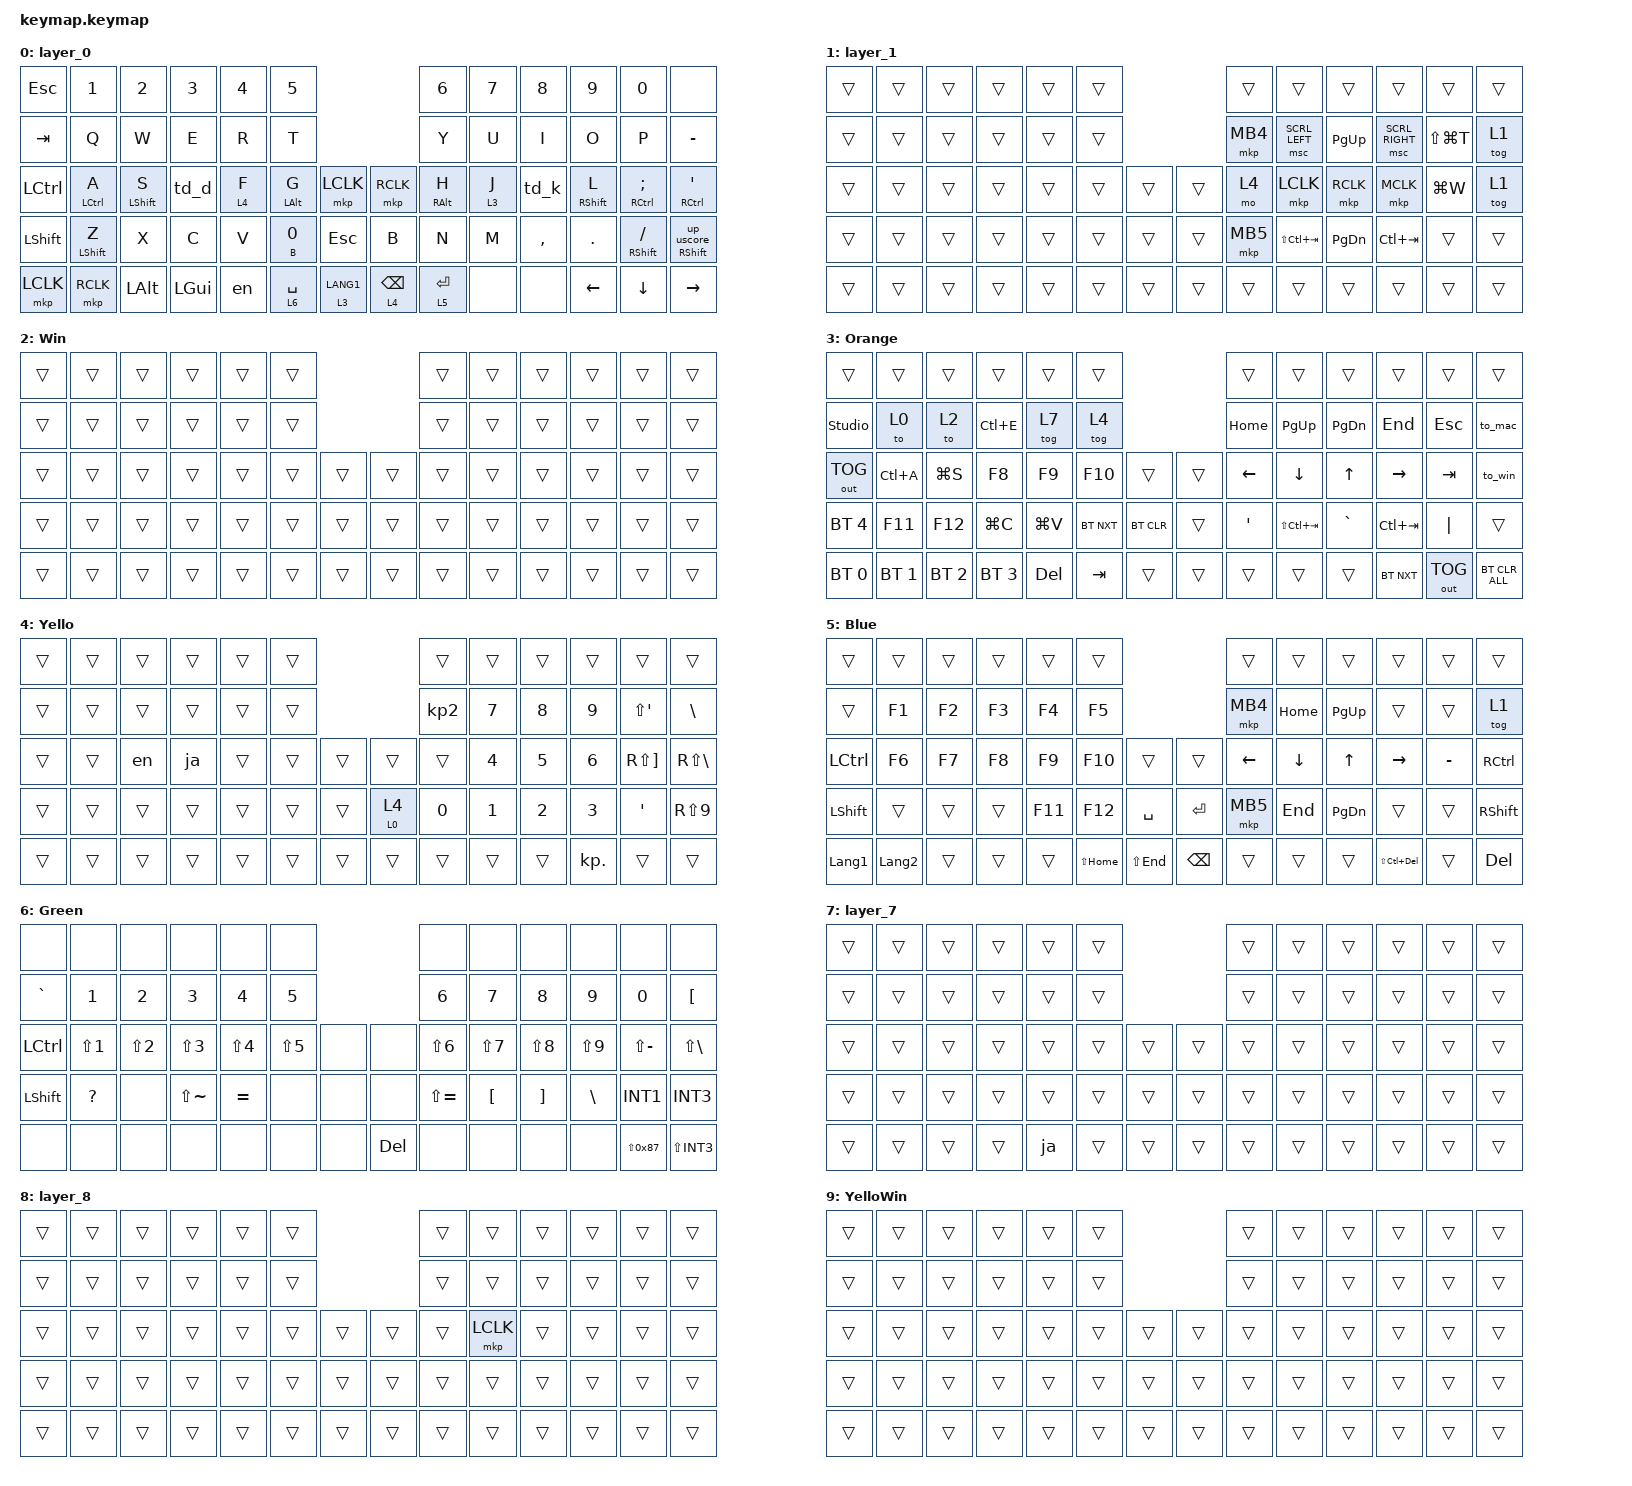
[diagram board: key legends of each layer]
#include <behaviors.dtsi>
#include <dt-bindings/zmk/bt.h>
#include <dt-bindings/zmk/keys.h>
#include <dt-bindings/zmk/outputs.h>
#include <dt-bindings/zmk/pointing.h>

#define JUS           LS(0x87)              // _

&lt { quick-tap-ms = <175>; };

&mt {
    quick-tap-ms = <175>;
    flavor = "tap-preferred";
    require-prior-idle-ms = <200>;
};

/ {
    combos {
        compatible = "zmk,combos";

        bt_clear {
            bindings = <&bt BT_CLR>;
            key-positions = <28 29>;
            layers = <2>;
        };

        lock {
            bindings = <&kp LG(L)>;
            key-positions = <38 39>;
        };

        kpUnderScore {
            bindings = <&kp INT1>;
            key-positions = <38 51>;
        };

        to-mouse {
            bindings = <&tog 1>;
            key-positions = <34 37>;
        };

        AltF4 {
            bindings = <&kp LA(F4)>;
            key-positions = <4 5>;
        };

        CmdW {
            bindings = <&kp LG(W)>;
            key-positions = <4 16>;
        };

        CmdQ {
            bindings = <&kp LG(Q)>;
            key-positions = <0 1>;
        };

        kk1l {
            bindings = <&kp LS(N8)>;
            key-positions = <19 21>;
        };

        kk1r {
            bindings = <&kp LS(N9)>;
            key-positions = <33 35>;
        };

        kk2l {
            bindings = <&kp LS(RBKT)>;
            key-positions = <19 20>;
        };

        kk2r {
            bindings = <&kp LS(BACKSLASH)>;
            key-positions = <33 34>;
        };

        kk3l {
            bindings = <&kp RBKT>;
            key-positions = <20 21>;
        };

        kk3r {
            bindings = <&kp BACKSLASH>;
            key-positions = <34 35>;
        };

        sq {
            bindings = <&kp LS(N7)>;
            key-positions = <7 19>;
        };

        dq {
            bindings = <&kp LS(N2)>;
            key-positions = <8 20>;
        };

        kpF13 {
            bindings = <&kp F13>;
            key-positions = <7 8>;
        };

        kpF14 {
            bindings = <&kp F14>;
            key-positions = <7 9>;
        };

        kpF15 {
            bindings = <&kp F15>;
            key-positions = <8 9>;
        };

        kpF16 {
            bindings = <&kp F16>;
            key-positions = <7 8 9>;
        };

        cJa {
            bindings = <&ja>;
            key-positions = <19 46>;
        };

        cEn {
            bindings = <&en>;
            key-positions = <16 43>;
        };
    };

    behaviors {
        tap_dance_mouse: tap_dance_mouse {
            compatible = "zmk,behavior-tap-dance";
            label = "TAP_DANCE_MOUSE";
            #binding-cells = <0>;
            bindings = <&kp MINUS>, <&to 1>;
        };

        up_uscore: up_uscore {
            compatible = "zmk,behavior-mod-morph";
            label = "UP_USCORE";
            #binding-cells = <0>;
            bindings = <&kp UP>, <&kp JUS>;

            // 左シフト(MOD_LSFT)のみを対象に設定

            mods = <(MOD_LSFT)>;
        };

        up_morph_shift: up_morph_shift {
            compatible = "zmk,behavior-hold-tap";
            label = "UP_MORPH_SHIFT";
            #binding-cells = <2>;
            flavor = "tap-preferred";
            tapping-term-ms = <200>; // 長押し判定の時間（お好みで調整）
            bindings = <&kp>, <&up_uscore>;

            // ホールドで&kp、タップでup_uscore
        };

        to_layers: to_layers {
            compatible = "zmk,behavior-hold-tap";
            label = "TO_LAYERS";
            #binding-cells = <2>;
            tapping-term-ms = <200>;
            flavor = "tap-preferred";

            // ホールドで1つ目の引数、タップで2つ目の引数を実行

            bindings = <&to>, <&to>;
        };

        td_d: td_d {
            compatible = "zmk,behavior-tap-dance";
            label = "TD_D";
            #binding-cells = <0>;
            bindings = <&mt LGUI D>;
        };

        td_k: td_k {
            compatible = "zmk,behavior-tap-dance";
            label = "TD_K";
            #binding-cells = <0>;
            bindings = <&mt RGUI K>;
        };
    };

    macros {
        kp1: kp1 {
            compatible = "zmk,behavior-macro";
            #binding-cells = <0>;
            bindings = <&kp LBKT &kp C &kp U &kp E &kp INT1 &kp H &kp A &kp K &kp U &kp M &kp A &kp I>;
            label = "KP1";
        };

        kp2: kp2 {
            compatible = "zmk,behavior-macro";
            #binding-cells = <0>;
            bindings = <&none &kp LS(K) &kp A &kp Y &kp O &kp T &kp I &kp N>;
            label = "KP2";
        };

        en: en {
            compatible = "zmk,behavior-macro";
            #binding-cells = <0>;
            bindings = <&kp LANG2 &tog 7>;
            label = "EN";
        };

        ja: ja {
            compatible = "zmk,behavior-macro";
            #binding-cells = <0>;
            bindings = <&kp LANG1 &tog 7>;
            label = "JA";
        };

        // Macへ（BT接続に切り替え + Macレイヤーへ）

        to_mac: to_mac {
            compatible = "zmk,behavior-macro";
            #binding-cells = <0>;
            bindings = <&out OUT_BLE &bt BT_SEL 0 &to 0>;
        };

        // Windowsへ（USB接続に切り替え + Winレイヤーへ）

        to_win: to_win {
            compatible = "zmk,behavior-macro";
            #binding-cells = <0>;
            bindings = <&out OUT_USB &to 2>;
        };
    };

    conditional_layers {
        compatible = "zmk,conditional-layers";

        // Winモード(L2) かつ スクロール操作(L4) なら、Win用スクロール設定(L9)を起動

        tri_layer {
            if-layers = <2 4>;
            then-layer = <9>;
        };
    };

    keymap {
        compatible = "zmk,keymap";

        layer_0 {
            bindings = <
&kp ESC    &kp N1       &kp N2        &kp N3        &kp N4   &kp N5                                     &kp N6       &kp N7   &kp N8     &kp N9       &kp N0          &none
&kp TAB    &kp Q        &kp W         &kp E         &kp R    &kp T                                      &kp Y        &kp U    &kp I      &kp O        &kp P           &kp MINUS
&kp LCTRL  &mt LCTRL A  &mt LSHFT S   &td_d         &lt 4 F  &mt LALT G   &mkp LCLK    &mkp RCLK        &mt RALT H   &lt 3 J  &td_k      &mt RSHFT L  &mt RCTRL SEMI  &mt RCTRL SINGLE_QUOTE
&kp LSHFT  &mt LSHFT Z  &kp X         &kp C         &kp V    &mt B N0     &kp ESCAPE   &kp B            &kp N        &kp M    &kp COMMA  &kp DOT      &mt RSHFT FSLH  &up_morph_shift RSHFT 0
&mkp LCLK  &mkp RCLK    &kp LEFT_ALT  &kp LEFT_GUI  &en      &lt 6 SPACE  &lt 3 LANG1  &lt 4 BACKSPACE  &lt 5 ENTER  &none    &none      &kp LEFT     &kp DOWN        &kp RIGHT
            >;
        };

        layer_1 {
            bindings = <
&trans  &trans  &trans  &trans  &trans  &trans                  &trans    &trans           &trans     &trans           &trans         &trans
&trans  &trans  &trans  &trans  &trans  &trans                  &mkp MB4  &msc SCRL_LEFT   &kp PG_UP  &msc SCRL_RIGHT  &kp LS(LG(T))  &tog 1
&trans  &trans  &trans  &trans  &trans  &trans  &trans  &trans  &mo 4     &mkp LCLK        &mkp RCLK  &mkp MCLK        &kp LG(W)      &tog 1
&trans  &trans  &trans  &trans  &trans  &trans  &trans  &trans  &mkp MB5  &kp LS(LC(TAB))  &kp PG_DN  &kp LC(TAB)      &trans         &trans
&trans  &trans  &trans  &trans  &trans  &trans  &trans  &trans  &trans    &trans           &trans     &trans           &trans         &trans
            >;
        };

        Win {
            bindings = <
&trans  &trans  &trans  &trans  &trans  &trans                    &trans  &trans  &trans  &trans  &trans  &trans
&trans  &trans  &trans  &trans  &trans  &trans                    &trans  &trans  &trans  &trans  &trans  &trans
&trans  &trans  &trans  &trans  &trans  &trans    &trans  &trans  &trans  &trans  &trans  &trans  &trans  &trans
&trans  &trans  &trans  &trans  &trans  &trans    &trans  &trans  &trans  &trans  &trans  &trans  &trans  &trans
&trans  &trans  &trans  &trans  &trans  &trans    &trans  &trans  &trans  &trans  &trans  &trans  &trans  &trans
            >;
        };

        Orange {
            bindings = <
&trans          &trans        &trans        &trans        &trans      &trans                          &trans            &trans           &trans         &trans       &trans        &trans
&studio_unlock  &to 0         &to 2         &kp LC(E)     &tog 7      &tog 4                          &kp HOME          &kp PG_UP        &kp PAGE_DOWN  &kp END      &kp ESCAPE    &to_mac
&out OUT_TOG    &kp LC(A)     &kp LG(S)     &kp F8        &kp F9      &kp F10     &trans      &trans  &kp LEFT          &kp DOWN         &kp UP_ARROW   &kp RIGHT    &kp TAB       &to_win
&bt BT_SEL 4    &kp F11       &kp F12       &kp LG(C)     &kp LG(V)   &bt BT_NXT  &bt BT_CLR  &trans  &kp SINGLE_QUOTE  &kp LS(LC(TAB))  &kp GRAVE      &kp LC(TAB)  &kp PIPE      &trans
&bt BT_SEL 0    &bt BT_SEL 1  &bt BT_SEL 2  &bt BT_SEL 3  &kp DELETE  &kp TAB     &trans      &trans  &trans            &trans           &trans         &bt BT_NXT   &out OUT_TOG  &bt BT_CLR_ALL
            >;
        };

        Yello {
            bindings = <
&trans  &trans  &trans  &trans  &trans  &trans                          &trans  &trans  &trans  &trans      &trans        &trans
&trans  &trans  &trans  &trans  &trans  &trans                          &kp2    &kp N7  &kp N8  &kp N9      &kp LS(SQT)   &kp BACKSLASH
&trans  &trans  &en     &ja     &trans  &trans  &trans  &trans          &trans  &kp N4  &kp N5  &kp N6      &kp RS(RBKT)  &kp RS(BACKSLASH)
&trans  &trans  &trans  &trans  &trans  &trans  &trans  &to_layers 0 4  &kp N0  &kp N1  &kp N2  &kp N3      &kp SQT       &kp RS(N9)
&trans  &trans  &trans  &trans  &trans  &trans  &trans  &trans          &trans  &trans  &trans  &kp KP_DOT  &trans        &trans
            >;
        };

        Blue {
            bindings = <
&trans          &trans          &trans  &trans  &trans   &trans                                    &trans    &trans    &trans     &trans           &trans     &trans
&trans          &kp F1          &kp F2  &kp F3  &kp F4   &kp F5                                    &mkp MB4  &kp HOME  &kp PG_UP  &trans           &trans     &tog 1
&kp LCTRL       &kp F6          &kp F7  &kp F8  &kp F9   &kp F10       &trans       &trans         &kp LEFT  &kp DOWN  &kp UP     &kp RIGHT        &kp MINUS  &kp RCTRL
&kp LSHFT       &trans          &trans  &trans  &kp F11  &kp F12       &kp SPACE    &kp ENTER      &mkp MB5  &kp END   &kp PG_DN  &trans           &trans     &kp RSHIFT
&kp LANGUAGE_1  &kp LANGUAGE_2  &trans  &trans  &trans   &kp LS(HOME)  &kp LS(END)  &kp BACKSPACE  &trans    &trans    &trans     &kp LS(LC(DEL))  &trans     &kp DEL
            >;
        };

        Green {
            bindings = <
&none      &none       &none       &none          &none       &none                       &none          &none       &none       &none          &none          &none
&kp GRAVE  &kp N1      &kp N2      &kp N3         &kp N4      &kp N5                      &kp N6         &kp N7      &kp N8      &kp N9         &kp N0         &kp LBKT
&kp LCTRL  &kp LS(N1)  &kp LS(N2)  &kp LS(N3)     &kp LS(N4)  &kp LS(N5)  &none  &none    &kp LS(N6)     &kp LS(N7)  &kp LS(N8)  &kp LS(N9)     &kp LS(MINUS)  &kp LS(BACKSLASH)
&kp LSHFT  &kp QMARK   &none       &kp LS(TILDE)  &kp EQUAL   &none       &none  &none    &kp LS(EQUAL)  &kp LBKT    &kp RBKT    &kp BACKSLASH  &kp INT1       &kp INT3
&none      &none       &none       &none          &none       &none       &none  &kp DEL  &none          &none       &none       &none          &kp JUS        &kp LS(INT3)
            >;
        };

        layer_7 {
            bindings = <
&trans  &trans  &trans  &trans  &trans  &trans                    &trans  &trans  &trans  &trans  &trans  &trans
&trans  &trans  &trans  &trans  &trans  &trans                    &trans  &trans  &trans  &trans  &trans  &trans
&trans  &trans  &trans  &trans  &trans  &trans    &trans  &trans  &trans  &trans  &trans  &trans  &trans  &trans
&trans  &trans  &trans  &trans  &trans  &trans    &trans  &trans  &trans  &trans  &trans  &trans  &trans  &trans
&trans  &trans  &trans  &trans  &ja     &trans    &trans  &trans  &trans  &trans  &trans  &trans  &trans  &trans
            >;
        };

        layer_8 {
            bindings = <
&trans  &trans  &trans  &trans  &trans  &trans                  &trans  &trans     &trans  &trans  &trans  &trans
&trans  &trans  &trans  &trans  &trans  &trans                  &trans  &trans     &trans  &trans  &trans  &trans
&trans  &trans  &trans  &trans  &trans  &trans  &trans  &trans  &trans  &mkp LCLK  &trans  &trans  &trans  &trans
&trans  &trans  &trans  &trans  &trans  &trans  &trans  &trans  &trans  &trans     &trans  &trans  &trans  &trans
&trans  &trans  &trans  &trans  &trans  &trans  &trans  &trans  &trans  &trans     &trans  &trans  &trans  &trans
            >;
        };

        YelloWin {
            bindings = <
&trans  &trans  &trans  &trans  &trans  &trans                  &trans  &trans  &trans  &trans  &trans  &trans
&trans  &trans  &trans  &trans  &trans  &trans                  &trans  &trans  &trans  &trans  &trans  &trans
&trans  &trans  &trans  &trans  &trans  &trans  &trans  &trans  &trans  &trans  &trans  &trans  &trans  &trans
&trans  &trans  &trans  &trans  &trans  &trans  &trans  &trans  &trans  &trans  &trans  &trans  &trans  &trans
&trans  &trans  &trans  &trans  &trans  &trans  &trans  &trans  &trans  &trans  &trans  &trans  &trans  &trans
            >;
        };
    };
};
